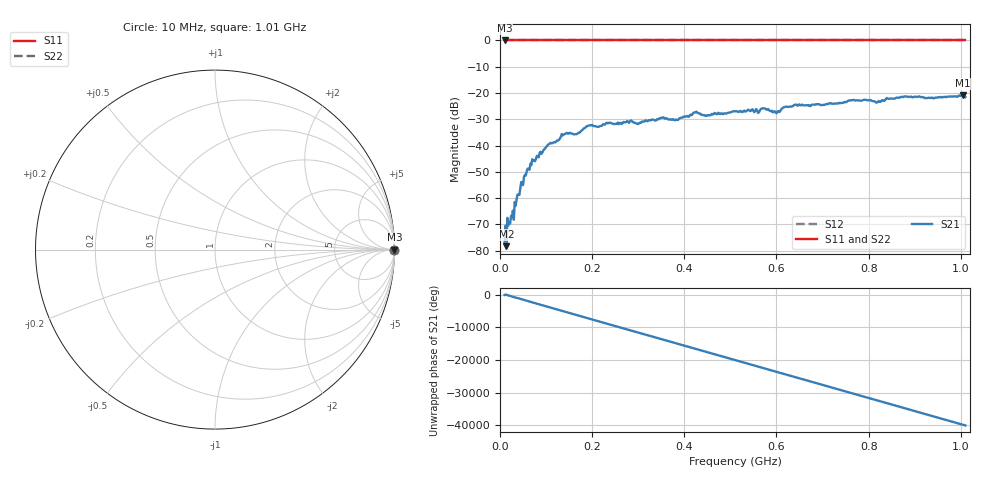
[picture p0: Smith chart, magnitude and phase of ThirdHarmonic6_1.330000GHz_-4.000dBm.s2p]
! 8/16/2025 2:51:14 PM
! C:\ANRITSUVNA\TEMP\TEMP.S2P
! CHANNEL.1
! TR.MEASUREMENT
! RAW.DATA
! RF.CORRECTION.OFF
! AVERAGING.OFF
! IF.BANDWIDTH: 5KHZ
! SWEEPTYPE:  FREQ.SWEEP(Linear)
! Reference Plane Port Info
! PORT:  PORT1  PORT2
! DISTANCE:  0  m  0  m
! TIME:  0  s  0  s
! PHASE.OFFSET:  0  deg.  0  deg.
! LOSS:  0  dB  0  dB
! REF.LOSS:  0  dB  0  dB
! REF.FREQ:  0  Hz  0  Hz
! Power Info
! POWER:  -20  dBm  -20  dBm
! EFF.POWER:  -20  dBm  -20  dBm
! SOURCE.ATTEN:  0  dB  0  dB
! TEST.ATTEN:  0  dB  0  dB
# GHZ S RI R 50.0
! FREQ.GHZ  S11RE  S11IM  S21RE  S21IM  S12RE  S12IM  S22RE  S22IM
!; PortSelection: Port_12
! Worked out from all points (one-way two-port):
!   501 points, 10 MHz to 1.01 GHz, reference 50 ohm
!   highest |S21| = -20.81 dB at 1.004 GHz (marker M1); lowest = -78.3 dB at 14 MHz (marker M2)
!   lowest |S11| = 0.0 dB at 10 MHz (marker M3)
!   |S11| at or under -10 dB: nowhere
!   |S22| runs from 0.0 to 0.0 dB; largest |S21 - S12| = 1.1
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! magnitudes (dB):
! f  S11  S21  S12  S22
! 10 MHz  0.0  -76.9  0.0  0.0
! 14 MHz  0.0  -78.3  0.0  0.0
! 20 MHz  0.0  -69.2  0.0  0.0
! 26 MHz  0.0  -67.2  0.0  0.0
! 50 MHz  0.0  -55.1  0.0  0.0
! 70 MHz  0.0  -45.2  0.0  0.0
! 106 MHz  0.0  -39.5  0.0  0.0
! 136 MHz  0.0  -36.1  0.0  0.0
! 178 MHz  0.0  -34.2  0.0  0.0
! 196 MHz  0.0  -32.3  0.0  0.0
! 344 MHz  0.0  -30.0  0.0  0.0
! 382 MHz  0.0  -30.1  0.0  0.0
! 424 MHz  0.0  -27.4  0.0  0.0
! 450 MHz  0.0  -28.4  0.0  0.0
! 510 MHz  0.0  -26.9  0.0  0.0
! 572 MHz  0.0  -25.9  0.0  0.0
! 602 MHz  0.0  -27.1  0.0  0.0
! 618 MHz  0.0  -25.3  0.0  0.0
! 678 MHz  0.0  -24.5  0.0  0.0
! 844 MHz  0.0  -22.2  0.0  0.0
! 1.004 GHz  0.0  -20.8  0.0  0.0
! 1.01 GHz  0.0  -21.5  0.0  0.0
